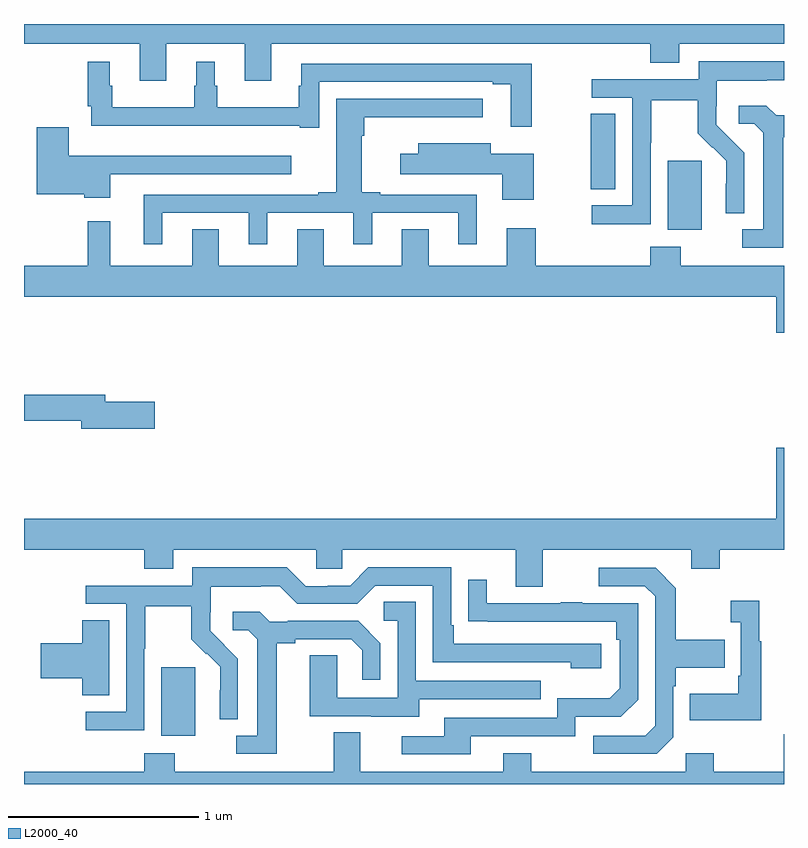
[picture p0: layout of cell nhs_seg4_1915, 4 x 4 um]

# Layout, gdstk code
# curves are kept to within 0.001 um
import gdstk
lib = gdstk.Library(unit=1e-6, precision=1e-09)
def R(c, l, rs):  # rectangles x0, y0, x1, y1
    for r in rs: c.add(gdstk.rectangle(r[:2], r[2:], *l))
def P(c, l, *ps):  # polygons
    for p in ps: c.add(gdstk.Polygon(p, *l))
L2000_40 = (2000, 40)

nhs_seg4_1915 = lib.new_cell('nhs_seg4_1915')
R(nhs_seg4_1915, L2000_40, [(209.723,817.154,209.902,817.515), (212.387,819.818,212.566,820.179), (211.982,820.03,212.113,820.427)])
P(nhs_seg4_1915, L2000_40, [(209.749,820.796),(210.161,820.796),(210.161,820.602),(210.301,820.602),(210.301,820.796),(212.297,820.796),(212.297,820.697),(212.449,820.697),(212.449,820.796),(213,820.796),(213,820.9),(209,820.9),(209,820.796),(209.609,820.796),(209.609,820.602),(209.749,820.602)],
  [(212.298,820.276),(212.301,820.276),(212.301,820.5),(212.545,820.5),(212.545,820.325),(212.622,820.248),(212.625,820.251),(212.696,820.181),(212.696,820.058),(212.694,820.058),(212.694,819.904),(212.79,819.904),(212.79,820.222),(212.644,820.37),(212.644,820.467),(212.646,820.467),(212.646,820.601),(212.909,820.601),(212.909,820.605),(213,820.605),(213,820.705),(212.55,820.705),(212.55,820.608),(211.989,820.608),(211.989,820.512),(212.202,820.512),(212.202,819.945),(211.989,819.945),(211.989,819.847),(212.298,819.847)],
  [(210.555,820.596),(211.466,820.596),(211.466,820.584),(211.562,820.584),(211.562,820.359),(211.672,820.359),(211.672,820.692),(210.458,820.692),(210.458,820.574),(210.447,820.574),(210.447,820.462),(210.016,820.462),(210.016,820.574),(210.004,820.574),(210.004,820.702),(209.906,820.702),(209.906,820.574),(209.895,820.574),(209.895,820.462),(209.464,820.462),(209.464,820.574),(209.452,820.574),(209.452,820.702),(209.335,820.702),(209.335,820.468),(209.355,820.468),(209.355,820.364),(210.452,820.364),(210.452,820.353),(210.555,820.353)],
  [(209.728,819.906),(210.182,819.906),(210.182,819.741),(210.28,819.741),(210.28,819.906),(210.734,819.906),(210.734,819.741),(210.832,819.741),(210.832,819.906),(211.286,819.906),(211.286,819.741),(211.384,819.741),(211.384,820.002),(210.874,820.002),(210.874,820.015),(210.778,820.015),(210.778,820.313),(210.791,820.313),(210.791,820.409),(211.414,820.409),(211.414,820.506),(210.644,820.506),(210.644,820.015),(210.548,820.015),(210.548,820.002),(209.63,820.002),(209.63,819.741),(209.728,819.741)],
  [(212.995,820.304),(213,820.304),(213,820.419),(212.958,820.419),(212.906,820.471),(212.763,820.471),(212.763,820.374),(212.844,820.374),(212.891,820.327),(212.891,819.819),(212.781,819.819),(212.781,819.723),(212.995,819.723)],
  [(209.455,820.11),(210.406,820.11),(210.406,820.207),(209.236,820.207),(209.236,820.357),(209.066,820.357),(209.066,820.004),(209.316,820.004),(209.316,819.986),(209.455,819.986)],
  [(211.684,820.216),(211.456,820.216),(211.456,820.273),(211.076,820.273),(211.076,820.216),(210.981,820.216),(210.981,820.109),(211.517,820.109),(211.517,819.975),(211.684,819.975)],
  [(213,819.628),(212.457,819.628),(212.457,819.727),(212.297,819.727),(212.297,819.628),(211.694,819.628),(211.694,819.826),(211.541,819.826),(211.541,819.628),(211.129,819.628),(211.129,819.821),(210.989,819.821),(210.989,819.628),(210.577,819.628),(210.577,819.821),(210.437,819.821),(210.437,819.628),(210.025,819.628),(210.025,819.821),(209.885,819.821),(209.885,819.628),(209.453,819.628),(209.453,819.862),(209.335,819.862),(209.335,819.628),(209,819.628),(209,819.464),(212.96,819.464),(212.96,819.276),(213,819.276)],
  [(209.689,818.912),(209.428,818.912),(209.428,818.948),(209,818.948),(209,818.812),(209.3,818.812),(209.3,818.77),(209.689,818.77)],
  [(211.729,818.132),(212.513,818.132),(212.513,818.033),(212.661,818.033),(212.661,818.132),(213,818.132),(213,818.671),(212.96,818.671),(212.96,818.296),(209,818.296),(209,818.132),(209.633,818.132),(209.633,818.033),(209.785,818.033),(209.785,818.132),(210.537,818.132),(210.537,818.034),(210.675,818.034),(210.675,818.132),(211.589,818.132),(211.589,817.938),(211.729,817.938)],
  [(209.634,817.612),(209.637,817.612),(209.637,817.836),(209.881,817.836),(209.881,817.661),(209.958,817.584),(209.961,817.587),(210.032,817.517),(210.032,817.394),(210.03,817.394),(210.03,817.24),(210.126,817.24),(210.126,817.558),(209.98,817.706),(209.98,817.803),(209.982,817.803),(209.982,817.937),(210.245,817.937),(210.245,817.941),(210.345,817.941),(210.438,817.848),(210.753,817.848),(210.849,817.944),(211.152,817.944),(211.152,817.542),(211.877,817.542),(211.877,817.508),(212.038,817.508),(212.038,817.638),(211.261,817.638),(211.261,817.735),(211.248,817.735),(211.248,818.04),(210.813,818.04),(210.717,817.944),(210.599,817.944),(210.599,817.941),(210.483,817.941),(210.383,818.041),(209.886,818.041),(209.886,817.944),(209.325,817.944),(209.325,817.848),(209.538,817.848),(209.538,817.281),(209.325,817.281),(209.325,817.183),(209.634,817.183)],
  [(212.418,817.146),(212.418,817.415),(212.431,817.415),(212.431,817.511),(212.687,817.511),(212.687,817.659),(212.431,817.659),(212.431,817.931),(212.325,818.037),(212.025,818.037),(212.025,817.941),(212.268,817.941),(212.322,817.887),(212.322,817.206),(212.271,817.155),(211.995,817.155),(211.995,817.059),(212.331,817.059)],
  [(211.351,817.152),(211.902,817.152),(211.902,817.254),(212.142,817.254),(212.232,817.344),(212.232,817.851),(211.937,817.851),(211.937,817.856),(211.825,817.856),(211.825,817.851),(211.435,817.851),(211.435,817.975),(211.339,817.975),(211.339,817.756),(212.116,817.755),(212.116,817.658),(212.136,817.658),(212.136,817.404),(212.083,817.351),(211.806,817.351),(211.806,817.248),(211.211,817.248),(211.211,817.152),(210.987,817.152),(210.987,817.056),(211.351,817.056)],
  [(212.881,817.651),(212.869,817.651),(212.869,817.864),(212.721,817.864),(212.721,817.751),(212.772,817.751),(212.772,817.471),(212.76,817.471),(212.76,817.375),(212.503,817.375),(212.503,817.235),(212.881,817.235)],
  [(211.081,817.347),(211.721,817.347),(211.721,817.443),(211.062,817.443),(211.062,817.859),(210.894,817.859),(210.894,817.758),(210.966,817.758),(210.966,817.353),(210.648,817.353),(210.648,817.577),(210.503,817.577),(210.503,817.257),(210.827,817.257),(210.827,817.253),(211.081,817.253)],
  [(210.331,817.64),(210.427,817.64),(210.427,817.662),(210.722,817.662),(210.779,817.605),(210.779,817.449),(210.876,817.449),(210.876,817.642),(210.76,817.758),(210.388,817.758),(210.388,817.755),(210.294,817.755),(210.242,817.807),(210.099,817.807),(210.099,817.71),(210.18,817.71),(210.227,817.663),(210.227,817.155),(210.117,817.155),(210.117,817.059),(210.331,817.059)],
  [(209.449,817.763),(209.306,817.763),(209.306,817.64),(209.088,817.64),(209.088,817.457),(209.306,817.457),(209.306,817.366),(209.449,817.366)],
  [(213,817.163),(212.998,817.163),(212.998,816.964),(212.631,816.964),(212.631,817.063),(212.484,817.063),(212.484,816.964),(211.671,816.964),(211.671,817.063),(211.523,817.063),(211.523,816.964),(210.769,816.964),(210.769,817.172),(210.629,817.172),(210.629,816.964),(209.793,816.964),(209.793,817.063),(209.633,817.063),(209.633,816.964),(209,816.964),(209,816.9),(213,816.9)])

lib.write_gds('nhs_seg4_1915.gds')
